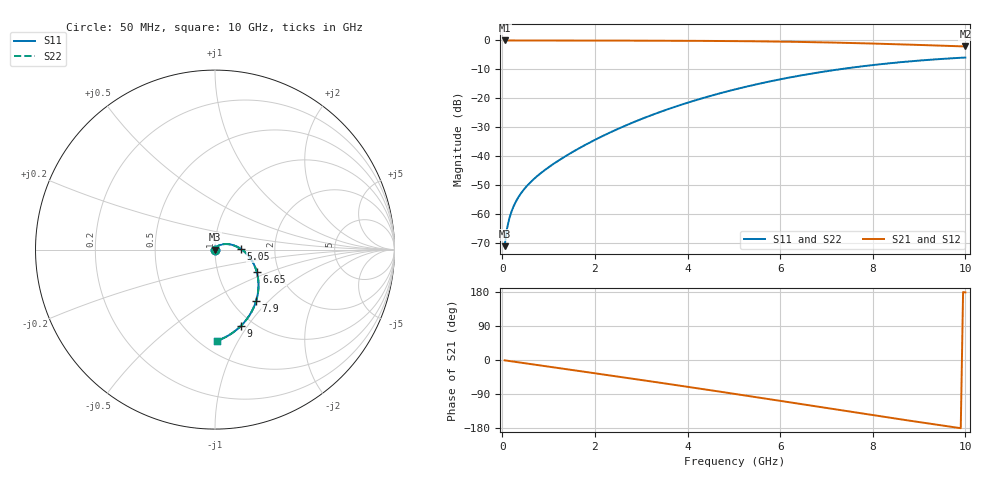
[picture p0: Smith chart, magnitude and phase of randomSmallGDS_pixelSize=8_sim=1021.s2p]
! freq	dB(S11)	phase(S11)	dB(S12)	phase(S12)
!  dB(S21)	phase(S21)	dB(S22)	phase(S22)
!S-par simulation data
#  GHz  S  DB  R 50
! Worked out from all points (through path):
!   200 points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, 50 MHz to 10 GHz, reference 50 ohm
!   highest |S21| = 0.00 dB at 50 MHz (marker M1); lowest = -2.1 dB at 10 GHz (marker M2)
!   group delay of S21, straight-line fit = 50.9 ps
!   lowest |S11| = -71.0 dB at 50 MHz (marker M3), VSWR 1.00, Z = 50 + j0.0278 ohm
!   |S11| at or under -10 dB: start of sweep to 7.264 GHz
!   |S22| runs from -71.0 to -5.9 dB; largest |S21 - S12| = 0
!   S11 on the Smith chart (normalised r, x): 50 MHz: 1.00, +0.00; 5.05 GHz: 1.34, +0.01; 6.65 GHz: 1.54, -0.42; 7.9 GHz: 1.27, -0.85; 9 GHz: 0.87, -0.93; 10 GHz: 0.60, -0.82
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0.05  -71.03 81.6  -0.00 -0.9  -0.00 -0.9  -71.03 81.6
0.1  -65.06 84.4  -0.00 -1.8  -0.00 -1.8  -65.06 84.4
0.15  -61.53 84.7  -0.00 -2.6  -0.00 -2.6  -61.53 84.7
0.2  -59.02 84.4  -0.00 -3.5  -0.00 -3.5  -59.02 84.4
0.3  -55.44 83.2  -0.00 -5.3  -0.00 -5.3  -55.44 83.2
0.45  -51.79 81.0  -0.01 -7.9  -0.01 -7.9  -51.79 81.0
0.65  -48.31 78.0  -0.01 -11.4  -0.01 -11.4  -48.31 78.0
0.95  -44.37 73.5  -0.02 -16.6  -0.02 -16.6  -44.37 73.5
1.3  -40.61 68.2  -0.03 -22.8  -0.03 -22.8  -40.61 68.2
1.75  -36.43 61.0  -0.04 -30.6  -0.04 -30.6  -36.43 61.0
2.55  -30.17 47.1  -0.06 -44.7  -0.06 -44.7  -30.17 47.0
3.4  -24.74 31.7  -0.09 -59.9  -0.09 -59.9  -24.74 31.7
4.25  -20.28 16.1  -0.14 -75.3  -0.14 -75.3  -20.28 16.1
5.05  -16.80 1.4  -0.23 -90.0  -0.23 -90.0  -16.80 1.4
5.85  -13.90 -13.5  -0.36 -105.0  -0.36 -105.0  -13.90 -13.6
6.65  -11.52 -28.5  -0.57 -120.1  -0.57 -120.1  -11.52 -28.5
6.7  -11.38 -29.4  -0.58 -121.0  -0.58 -121.0  -11.39 -29.4
7.3  -9.92 -40.6  -0.78 -132.3  -0.78 -132.3  -9.92 -40.6
7.9  -8.68 -51.6  -1.02 -143.6  -1.02 -143.6  -8.68 -51.6
8.35  -7.90 -59.8  -1.23 -151.9  -1.23 -151.9  -7.90 -59.8
9  -6.95 -71.3  -1.55 -163.9  -1.55 -163.9  -6.95 -71.3
10  -5.90 -88.5  -2.07 178.3  -2.07 178.3  -5.90 -88.5
